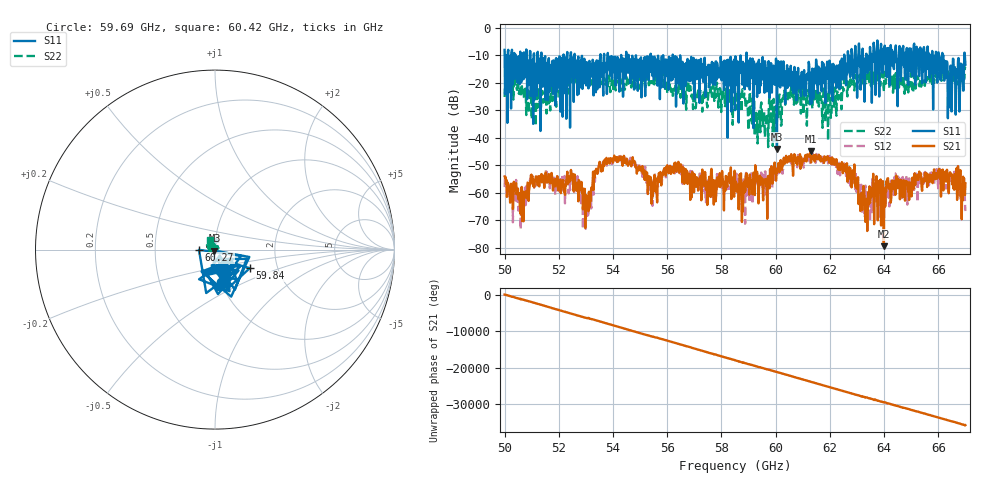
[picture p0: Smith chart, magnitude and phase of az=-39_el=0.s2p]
!Created with skrf (http://scikit-rf.org).
# GHz S RI R 50.0
!freq ReS11 ImS11 ReS21 ImS21 ReS12 ImS12 ReS22 ImS22
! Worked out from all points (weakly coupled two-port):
!   1001 points, 50 GHz to 67 GHz, reference 50 ohm
!   highest |S21| = -44.86 dB at 61.29 GHz (marker M1); lowest = -79.5 dB at 63.99 GHz (marker M2)
!   lowest |S11| = -44.1 dB at 60.05 GHz (marker M3), VSWR 1.01, Z = 49.7 - j0.541 ohm
!   |S11| at or under -10 dB: 52.59 GHz to 53.53 GHz (946.2 MHz wide, 1.78 % of centre); 56.48 GHz to 58.92 GHz (2.446 GHz wide, 4.24 % of centre); 58.93 GHz to 62.53 GHz (3.598 GHz wide, 5.92 % of centre) (the widest 3 of 64)
!   |S22| runs from -43.4 to -13.3 dB; largest |S21 - S12| = 0.0023
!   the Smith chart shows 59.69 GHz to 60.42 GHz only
!   S11 on the Smith chart (normalised r, x): 59.69 GHz: 1.00, -0.38; 59.84 GHz: 1.44, -0.31; 60.27 GHz: 0.84, -0.00; 60.42 GHz: 0.96, -0.42
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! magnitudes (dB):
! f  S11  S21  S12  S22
! 50 GHz  -8.0  -54.1  -58.0  -25.1
! 50.65 GHz  -18.9  -70.4  -69.3  -22.1
! 51.48 GHz  -11.6  -54.7  -54.7  -24.1
! 52.84 GHz  -10.9  -56.1  -57.8  -19.7
! 53.06 GHz  -14.2  -64.7  -65.1  -19.9
! 53.43 GHz  -13.0  -52.2  -53.1  -16.9
! 53.83 GHz  -15.0  -48.0  -48.6  -19.7
! 55.68 GHz  -13.8  -54.4  -54.1  -20.6
! 58.5 GHz  -29.9  -57.9  -57.8  -22.8
! 59.69 GHz  -14.6  -69.5  -55.4  -31.1
! 59.84 GHz  -13.2  -50.4  -51.4  -28.2
! 60.05 GHz  -44.1  -52.7  -53.6  -29.6
! 60.27 GHz  -21.0  -50.1  -51.5  -25.7
! 60.42 GHz  -13.6  -49.0  -47.6  -24.4
! 61.29 GHz  -27.7  -44.9  -46.6  -24.7
! 61.34 GHz  -27.4  -47.7  -46.6  -27.9
! 62.55 GHz  -11.3  -50.5  -50.7  -18.2
! 63.36 GHz  -13.6  -62.2  -60.4  -17.8
! 63.99 GHz  -8.6  -79.5  -65.7  -23.2
! 64.18 GHz  -12.1  -58.5  -57.8  -18.0
! 66.68 GHz  -15.1  -51.0  -58.5  -17.0
! 67 GHz  -13.4  -56.6  -66.7  -14.6
